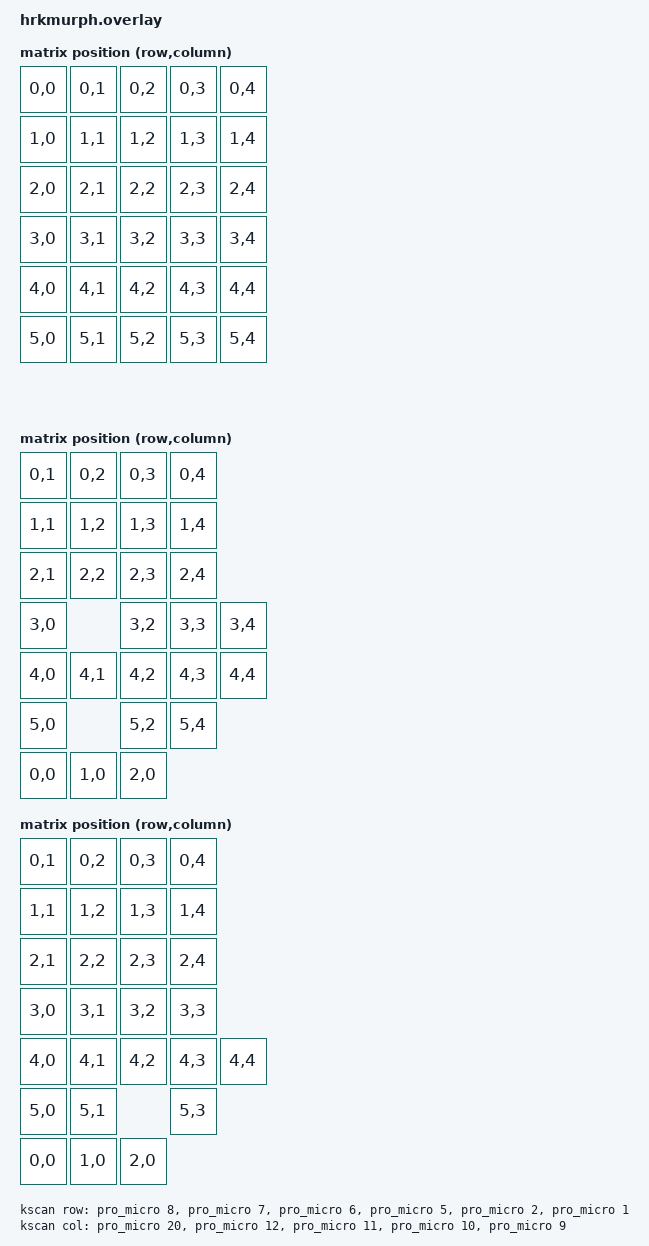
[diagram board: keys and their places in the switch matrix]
/*
 * Copyright (c) 2021 The ZMK Contributors
 *
 * SPDX-License-Identifier: MIT
 */

#include <dt-bindings/zmk/matrix_transform.h>

#include "hrkmurph-layout.dtsi"

/ {
    chosen {
        zephyr,display = &oled;
        zmk,kscan = &kscan;
        zmk,physical-layouts = &all_1u_layout;
    };

    kscan: kscan {
        compatible = "zmk,kscan-gpio-matrix";
        wakeup-source;

        diode-direction = "col2row";
        row-gpios
            = <&pro_micro 8 (GPIO_ACTIVE_HIGH | GPIO_PULL_DOWN)>
            , <&pro_micro 7 (GPIO_ACTIVE_HIGH | GPIO_PULL_DOWN)>
            , <&pro_micro 6 (GPIO_ACTIVE_HIGH | GPIO_PULL_DOWN)>
            , <&pro_micro 5 (GPIO_ACTIVE_HIGH | GPIO_PULL_DOWN)>
            , <&pro_micro 2 (GPIO_ACTIVE_HIGH | GPIO_PULL_DOWN)>
            , <&pro_micro 1 (GPIO_ACTIVE_HIGH | GPIO_PULL_DOWN)>
            ;
        col-gpios
            = <&pro_micro 20  GPIO_ACTIVE_HIGH>
            , <&pro_micro 12  GPIO_ACTIVE_HIGH>
            , <&pro_micro 11  GPIO_ACTIVE_HIGH>
            , <&pro_micro 10  GPIO_ACTIVE_HIGH>
            , <&pro_micro 9 GPIO_ACTIVE_HIGH>
            ;
    };

    all_1u_transform: keymap_transform_0 {
        compatible = "zmk,matrix-transform";
        columns = <5>;
        rows = <6>;
        map = <
            RC(0,0) RC(0,1) RC(0,2) RC(0,3) RC(0,4)
            RC(1,0) RC(1,1) RC(1,2) RC(1,3) RC(1,4)
            RC(2,0) RC(2,1) RC(2,2) RC(2,3) RC(2,4)
            RC(3,0) RC(3,1) RC(3,2) RC(3,3) RC(3,4)
            RC(4,0) RC(4,1) RC(4,2) RC(4,3) RC(4,4)
            RC(5,0) RC(5,1) RC(5,2) RC(5,3) RC(5,4)
        >;
    };

    right_numpad_transform: keymap_transform_1 {
        compatible = "zmk,matrix-transform";
        columns = <5>;
        rows = <6>;
        map = <
            RC(0,1) RC(0,2) RC(0,3) RC(0,4)
            RC(1,1) RC(1,2) RC(1,3) RC(1,4)
            RC(2,1) RC(2,2) RC(2,3) RC(2,4)
            RC(3,0)         RC(3,2) RC(3,3) RC(3,4)
            RC(4,0) RC(4,1) RC(4,2) RC(4,3) RC(4,4)
            RC(5,0)         RC(5,2)     RC(5,4)

            RC(0,0) RC(1,0) RC(2,0)
        >;
    };

    left_numpad_transform: keymap_transform_2 {
        compatible = "zmk,matrix-transform";
        columns = <5>;
        rows = <6>;
        map = <
            RC(0,1) RC(0,2) RC(0,3) RC(0,4)
            RC(1,1) RC(1,2) RC(1,3) RC(1,4)
            RC(2,1) RC(2,2) RC(2,3) RC(2,4)
            RC(3,0) RC(3,1) RC(3,2) RC(3,3)
            RC(4,0) RC(4,1) RC(4,2) RC(4,3) RC(4,4)
            RC(5,0)     RC(5,1)     RC(5,3)

            RC(0,0) RC(1,0) RC(2,0)
        >;
    };
};

&pro_micro_i2c {
    status = "okay";

    oled: ssd1306@3c {
        compatible = "solomon,ssd1306fb";
        reg = <0x3c>;
        width = <128>;
        height = <32>;
        segment-offset = <0>;
        page-offset = <0>;
        display-offset = <0>;
        multiplex-ratio = <31>;
        segment-remap;
        com-invdir;
        com-sequential;
        inversion-on;
        prechargep = <0x22>;
    };
};
